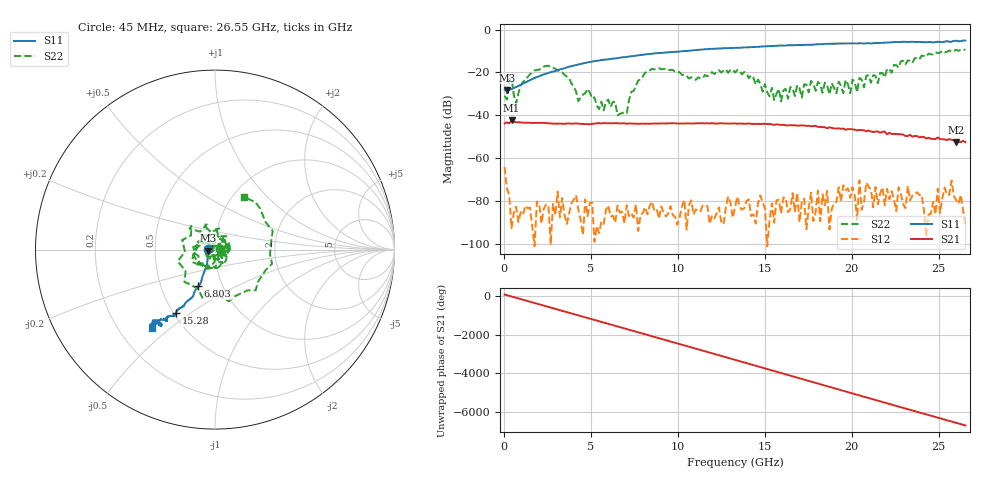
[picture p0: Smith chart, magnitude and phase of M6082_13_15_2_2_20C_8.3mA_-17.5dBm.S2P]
!  2-Port S-parameters saved by WinCal
! VAR MeasName=S-Parameters (CALIBRATED_DATA) read from VNA (C)
! VAR MeasDate=10/16/2015 12:49:38 PM
! VAR NAME=M6082_13_15_2_2_20C_8.3mA_-17.5dBm
! VAR FILENAME=M6082_13_15_2_2_20C_8.3mA_-17.5dBm.S2P
! VAR DATE=10/16/2015 12:49:38 PM
! VAR PHYS_PORTS=2,1
! VAR ObjTypeName=DATASET
! VAR IndexType=Frequency
# Hz S DB R 50
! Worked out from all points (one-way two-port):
!   201 points, 45 MHz to 26.55 GHz, reference 50 ohm
!   highest |S21| = -42.37 dB at 442.5 MHz (marker M1); lowest = -52.6 dB at 26.02 GHz (marker M2)
!   lowest |S11| = -28.2 dB at 177.5 MHz (marker M3), VSWR 1.08, Z = 46.3 - j0.467 ohm
!   |S11| at or under -10 dB: start of sweep to 10.37 GHz
!   |S22| runs from -40.1 to -9.2 dB; largest |S21 - S12| = 0.0076
!   S11 on the Smith chart (normalised r, x): 45 MHz: 0.92, +0.00; 6.803 GHz: 0.76, -0.33; 15.28 GHz: 0.52, -0.44; 26.55 GHz: 0.34, -0.43
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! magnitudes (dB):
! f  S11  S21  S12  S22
! 45 MHz  -28.0  -43.8  -64.2  -30.8
! 177.5 MHz  -28.2  -43.3  -74.2  -32.7
! 442.5 MHz  -27.8  -42.4  -92.8  -22.4
! 707.5 MHz  -26.8  -43.3  -82.7  -34.5
! 2.43 GHz  -20.6  -43.7  -81.8  -16.9
! 4.55 GHz  -15.8  -44.1  -95.9  -30.3
! 6.803 GHz  -12.9  -43.8  -85.1  -38.9
! 8.922 GHz  -10.9  -43.8  -88.3  -18.0
! 13.29 GHz  -8.5  -43.8  -83.1  -20.1
! 15.28 GHz  -7.7  -44.0  -89.2  -31.2
! 17.8 GHz  -7.0  -45.0  -89.4  -25.1
! 19.39 GHz  -6.5  -46.4  -80.2  -26.3
! 19.52 GHz  -6.4  -46.2  -72.7  -29.7
! 20.32 GHz  -6.4  -47.1  -88.9  -29.2
! 20.45 GHz  -6.3  -46.8  -70.4  -22.5
! 20.58 GHz  -6.4  -46.9  -84.2  -23.3
! 20.85 GHz  -6.4  -47.5  -71.5  -21.5
! 22.17 GHz  -5.9  -48.2  -79.3  -18.4
! 25.09 GHz  -5.7  -51.1  -85.7  -10.8
! 25.75 GHz  -5.6  -51.5  -70.5  -10.2
! 26.02 GHz  -5.2  -52.6  -79.6  -9.4
! 26.55 GHz  -5.1  -52.5  -92.0  -9.5
